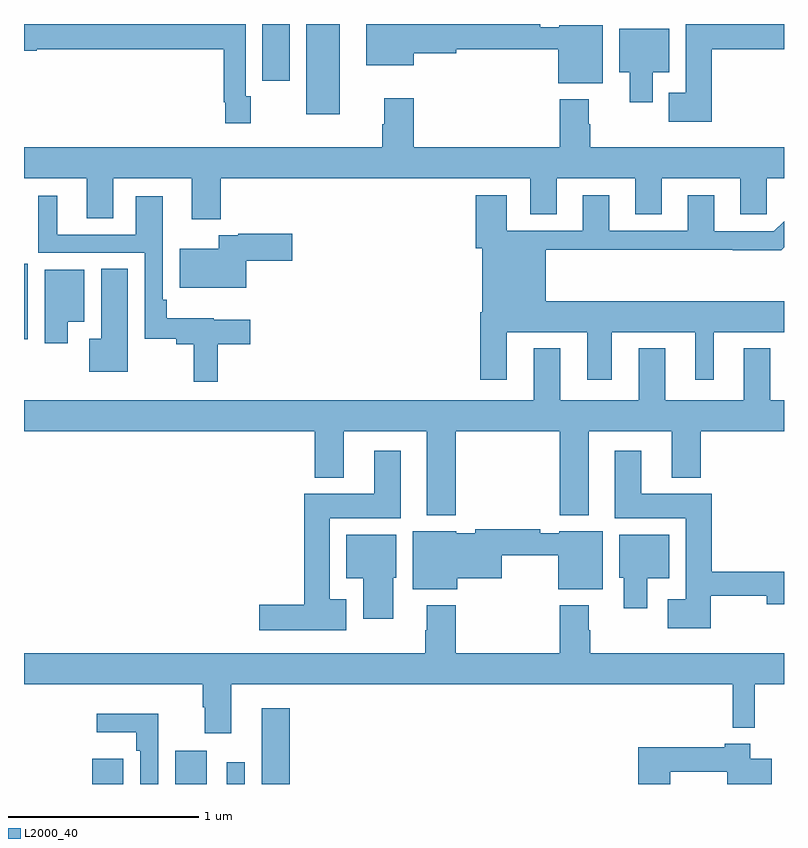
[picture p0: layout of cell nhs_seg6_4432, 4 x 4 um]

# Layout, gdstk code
import gdstk
lib = gdstk.Library(unit=1e-6, precision=1e-09)
def R(c, l, rs):  # rectangles x0, y0, x1, y1
    for r in rs: c.add(gdstk.rectangle(r[:2], r[2:], *l))
def P(c, l, *ps):  # polygons
    for p in ps: c.add(gdstk.Polygon(p, *l))
L2000_40 = (2000, 40)

nhs_seg6_4432 = lib.new_cell('nhs_seg6_4432')
R(nhs_seg6_4432, L2000_40, [(373.358,925.5,373.522,925.633), (373.796,925.5,373.963,925.675), (374.067,925.5,374.163,925.615), (374.252,925.5,374.399,925.9), (373,927.84,373.02,928.237), (374.486,929.024,374.662,929.5), (374.255,929.202,374.398,929.5)])
P(nhs_seg6_4432, L2000_40, [(376.045,929.494),(375.816,929.494),(375.816,929.484),(375.716,929.484),(375.716,929.5),(374.801,929.5),(374.801,929.282),(375.052,929.282),(375.052,929.345),(375.274,929.345),(375.274,929.368),(375.812,929.368),(375.812,929.189),(376.045,929.189)],
  [(376.619,929.368),(377,929.368),(377,929.5),(376.484,929.5),(376.484,929.137),(376.394,929.137),(376.394,928.985),(376.619,928.985)],
  [(374.193,929.121),(374.166,929.121),(374.166,929.5),(373,929.5),(373,929.36),(373.068,929.36),(373.068,929.368),(374.05,929.368),(374.05,929.089),(374.058,929.089),(374.058,928.977),(374.193,928.977)],
  [(376.309,929.246),(376.396,929.246),(376.396,929.476),(376.133,929.476),(376.133,929.246),(376.187,929.246),(376.187,929.088),(376.309,929.088)],
  [(374.036,928.688),(375.665,928.688),(375.665,928.498),(375.805,928.498),(375.805,928.688),(376.217,928.688),(376.217,928.498),(376.357,928.498),(376.357,928.688),(376.769,928.688),(376.769,928.498),(376.908,928.498),(376.908,928.688),(377,928.688),(377,928.852),(375.981,928.852),(375.981,928.973),(375.973,928.973),(375.973,929.104),(375.821,929.104),(375.821,928.852),(375.05,928.852),(375.05,929.11),(374.897,929.11),(374.897,928.973),(374.885,928.973),(374.885,928.852),(373,928.852),(373,928.688),(373.331,928.688),(373.331,928.477),(373.471,928.477),(373.471,928.688),(373.883,928.688),(373.883,928.473),(374.036,928.473)],
  [(375.541,927.878),(375.965,927.878),(375.965,927.627),(376.093,927.627),(376.093,927.878),(376.532,927.878),(376.532,927.627),(376.63,927.627),(376.63,927.878),(377,927.878),(377,928.042),(375.745,928.042),(375.745,928.312),(376.729,928.312),(376.729,928.31),(376.985,928.31),(377,928.325),(377,928.463),(376.947,928.41),(376.633,928.41),(376.633,928.6),(376.493,928.6),(376.493,928.413),(376.081,928.413),(376.081,928.6),(375.941,928.6),(375.941,928.413),(375.541,928.413),(375.541,928.6),(375.377,928.6),(375.377,928.32),(375.413,928.32),(375.413,927.982),(375.401,927.982),(375.401,927.627),(375.541,927.627)],
  [(374.021,927.814),(374.191,927.814),(374.191,927.943),(373.998,927.943),(373.998,927.951),(373.751,927.951),(373.751,928.048),(373.731,928.048),(373.731,928.594),(373.589,928.594),(373.589,928.392),(373.174,928.392),(373.174,928.597),(373.075,928.597),(373.075,928.296),(373.635,928.296),(373.635,927.843),(373.802,927.843),(373.802,927.814),(373.893,927.814),(373.893,927.618),(374.021,927.618)],
  [(374.17,928.253),(374.413,928.253),(374.413,928.395),(374.128,928.395),(374.128,928.387),(374.024,928.387),(374.024,928.318),(373.82,928.318),(373.82,928.112),(374.17,928.112)],
  [(373.546,928.211),(373.406,928.211),(373.406,927.844),(373.343,927.844),(373.343,927.671),(373.546,927.671)],
  [(373.231,927.932),(373.318,927.932),(373.318,928.207),(373.109,928.207),(373.109,927.819),(373.231,927.819)],
  [(375.272,927.356),(375.821,927.356),(375.821,926.915),(375.973,926.915),(375.973,927.356),(376.409,927.356),(376.409,927.113),(376.562,927.113),(376.562,927.356),(377,927.356),(377,927.52),(376.927,927.52),(376.927,927.793),(376.787,927.793),(376.787,927.52),(376.375,927.52),(376.375,927.793),(376.235,927.793),(376.235,927.52),(375.823,927.52),(375.823,927.793),(375.683,927.793),(375.683,927.52),(373,927.52),(373,927.356),(374.531,927.356),(374.531,927.113),(374.683,927.113),(374.683,927.356),(375.119,927.356),(375.119,926.915),(375.272,926.915)],
  [(376.614,926.49),(376.91,926.49),(376.91,926.447),(377,926.447),(377,926.618),(376.619,926.618),(376.619,927.028),(376.249,927.028),(376.249,927.253),(376.109,927.253),(376.109,926.9),(376.484,926.9),(376.484,926.473),(376.389,926.473),(376.389,926.321),(376.614,926.321)],
  [(374.695,926.473),(374.608,926.473),(374.608,926.9),(374.983,926.9),(374.983,927.253),(374.843,927.253),(374.843,927.028),(374.474,927.028),(374.474,926.444),(374.238,926.444),(374.238,926.309),(374.695,926.309)],
  [(375.28,926.582),(375.514,926.582),(375.514,926.704),(375.812,926.704),(375.812,926.525),(376.045,926.525),(376.045,926.83),(375.816,926.83),(375.816,926.82),(375.716,926.82),(375.716,926.84),(375.376,926.84),(375.376,926.821),(375.276,926.821),(375.276,926.83),(375.047,926.83),(375.047,926.525),(375.28,926.525)],
  [(376.279,926.582),(376.396,926.582),(376.396,926.812),(376.133,926.812),(376.133,926.586),(376.157,926.586),(376.157,926.424),(376.279,926.424)],
  [(374.944,926.586),(374.959,926.586),(374.959,926.812),(374.696,926.812),(374.696,926.582),(374.786,926.582),(374.786,926.37),(374.944,926.37)],
  [(374.092,926.024),(376.729,926.024),(376.729,925.796),(376.847,925.796),(376.847,926.024),(377,926.024),(377,926.188),(375.981,926.188),(375.981,926.309),(375.973,926.309),(375.973,926.44),(375.821,926.44),(375.821,926.188),(375.272,926.188),(375.272,926.44),(375.119,926.44),(375.119,926.309),(375.112,926.309),(375.112,926.188),(373,926.188),(373,926.024),(373.94,926.024),(373.94,925.904),(373.952,925.904),(373.952,925.767),(374.092,925.767)],
  [(373.707,925.87),(373.383,925.87),(373.383,925.772),(373.591,925.772),(373.591,925.676),(373.611,925.676),(373.611,925.5),(373.707,925.5)],
  [(376.402,925.564),(376.7,925.564),(376.7,925.5),(376.936,925.5),(376.936,925.633),(376.822,925.633),(376.822,925.711),(376.688,925.711),(376.688,925.693),(376.232,925.693),(376.232,925.5),(376.402,925.5)])

lib.write_gds('nhs_seg6_4432.gds')
